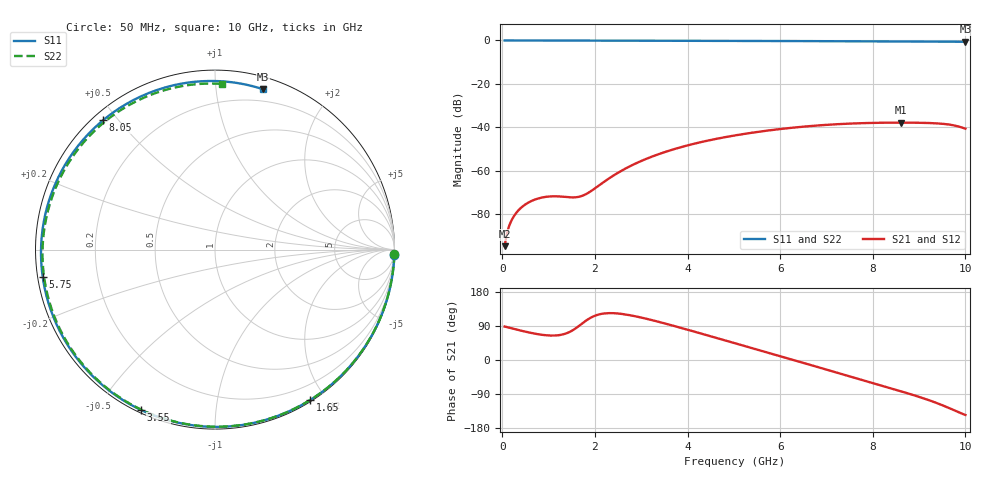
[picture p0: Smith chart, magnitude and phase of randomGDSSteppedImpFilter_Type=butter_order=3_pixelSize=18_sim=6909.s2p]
! freq	dB(S11)	phase(S11)	dB(S12)	phase(S12)
!  dB(S21)	phase(S21)	dB(S22)	phase(S22)
!S-par simulation data
#  GHz  S  DB  R 50
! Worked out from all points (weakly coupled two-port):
!   200 points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, 50 MHz to 10 GHz, reference 50 ohm
!   highest |S21| = -37.87 dB at 8.6 GHz (marker M1); lowest = -94.8 dB at 50 MHz (marker M2)
!   lowest |S11| = -0.6 dB at 10 GHz (marker M3), VSWR 28.76, Z = 4.85 + j66.8 ohm
!   |S11| at or under -10 dB: nowhere
!   |S22| runs from -0.7 to 0.0 dB; largest |S21 - S12| = 0
!   S11 on the Smith chart (normalised r, x): 50 MHz: 0, -63; 1.65 GHz: 0.02, -1.82; 3.55 GHz: 0.01, -0.64; 5.75 GHz: 0.01, -0.08; 8.05 GHz: 0.03, +0.46; 10 GHz: 0.10, +1.34
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0.05  -0.00 -1.8  -94.80 88.4  -94.80 88.4  -0.00 -1.4
0.25  -0.01 -9.0  -81.00 82.1  -81.00 82.1  -0.01 -7.2
0.55  -0.03 -19.8  -74.87 73.3  -74.87 73.3  -0.02 -15.7
0.85  -0.04 -30.4  -72.42 66.6  -72.42 66.6  -0.03 -24.2
1.1  -0.05 -39.1  -71.82 64.5  -71.82 64.5  -0.04 -31.2
1.65  -0.07 -57.7  -72.07 89.4  -72.07 89.4  -0.06 -46.4
1.75  -0.08 -61.0  -71.40 98.7  -71.40 98.7  -0.06 -49.1
2.55  -0.10 -86.1  -60.34 122.0  -60.34 122.0  -0.09 -70.4
2.95  -0.12 -97.9  -56.01 113.4  -56.01 113.4  -0.10 -80.8
3.4  -0.13 -110.7  -52.23 100.0  -52.23 100.0  -0.12 -92.2
3.55  -0.14 -114.8  -51.15 95.1  -51.15 95.1  -0.13 -95.9
4.3  -0.17 -134.7  -46.80 69.5  -46.80 69.5  -0.16 -114.3
5.05  -0.21 -153.7  -43.67 43.3  -43.67 43.3  -0.20 -132.4
5.75  -0.25 -170.9  -41.47 18.8  -41.47 18.8  -0.24 -149.2
6.7  -0.31 165.7  -39.36 -14.6  -39.36 -14.6  -0.32 -172.6
7.4  -0.36 148.0  -38.41 -39.6  -38.41 -39.6  -0.39 169.2
8.05  -0.42 130.9  -37.97 -62.7  -37.97 -62.7  -0.45 151.2
8.35  -0.44 122.7  -37.89 -73.3  -37.89 -73.3  -0.49 142.4
8.6  -0.46 115.7  -37.87 -82.3  -37.87 -82.3  -0.52 134.8
9.35  -0.53 93.7  -38.17 -112.1  -38.17 -112.1  -0.60 110.6
9.7  -0.57 82.9  -38.93 -129.6  -38.93 -129.6  -0.65 98.5
10  -0.60 73.4  -40.67 -145.0  -40.67 -145.0  -0.69 87.7
